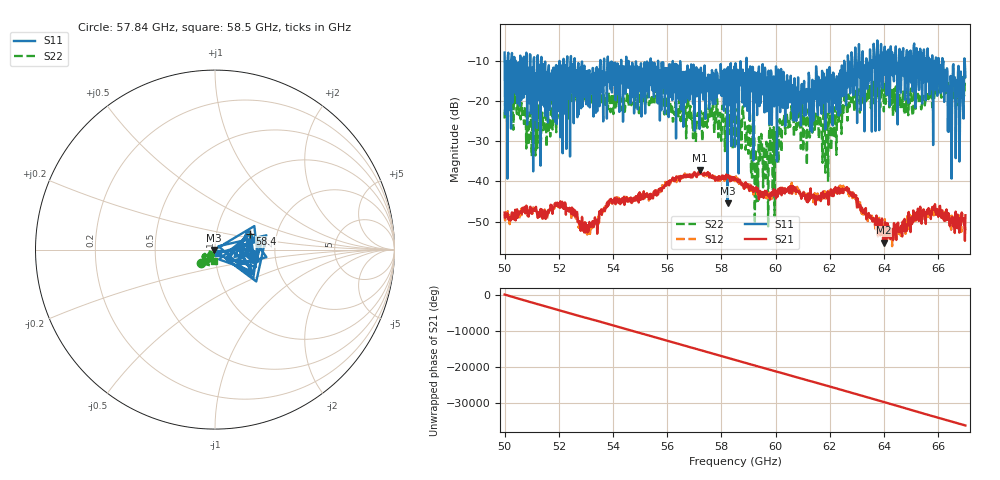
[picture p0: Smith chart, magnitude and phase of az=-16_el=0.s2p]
!Created with skrf (http://scikit-rf.org).
# GHz S RI R 50.0
!freq ReS11 ImS11 ReS21 ImS21 ReS12 ImS12 ReS22 ImS22
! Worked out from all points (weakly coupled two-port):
!   1001 points, 50 GHz to 67 GHz, reference 50 ohm
!   highest |S21| = -37.25 dB at 57.21 GHz (marker M1); lowest = -55.3 dB at 63.99 GHz (marker M2)
!   lowest |S11| = -45.5 dB at 58.23 GHz (marker M3), VSWR 1.01, Z = 49.5 - j0.205 ohm
!   |S11| at or under -10 dB: 52.59 GHz to 53.53 GHz (947.9 MHz wide, 1.79 % of centre); 55.66 GHz to 58.92 GHz (3.262 GHz wide, 5.69 % of centre); 58.93 GHz to 62.53 GHz (3.599 GHz wide, 5.93 % of centre) (the widest 3 of 64)
!   |S22| runs from -51.2 to -13.3 dB; largest |S21 - S12| = 0.0029
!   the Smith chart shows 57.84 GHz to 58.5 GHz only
!   S11 on the Smith chart (normalised r, x): 57.84 GHz: 1.55, -0.18; 58.4 GHz: 1.46, +0.27; 58.5 GHz: 1.04, -0.04
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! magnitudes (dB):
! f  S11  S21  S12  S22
! 50 GHz  -7.9  -47.8  -48.2  -24.3
! 50.15 GHz  -22.2  -49.6  -49.5  -20.8
! 51.14 GHz  -13.6  -47.3  -46.6  -33.5
! 52.84 GHz  -11.5  -51.2  -50.7  -19.9
! 55.68 GHz  -13.3  -42.0  -42.2  -21.0
! 57.21 GHz  -14.7  -37.3  -38.1  -25.0
! 57.84 GHz  -12.9  -39.8  -39.9  -19.4
! 58.23 GHz  -45.5  -38.9  -39.1  -23.2
! 58.4 GHz  -13.4  -38.9  -38.5  -26.0
! 58.5 GHz  -31.4  -39.4  -39.9  -23.9
! 59.11 GHz  -12.7  -42.1  -42.4  -34.9
! 59.32 GHz  -23.5  -42.4  -42.6  -35.4
! 60.34 GHz  -15.1  -43.0  -41.9  -25.6
! 61.34 GHz  -27.7  -44.0  -44.0  -27.1
! 61.88 GHz  -15.2  -43.6  -43.7  -24.3
! 62.61 GHz  -16.6  -42.3  -41.8  -19.6
! 63.99 GHz  -8.6  -55.3  -52.6  -22.5
! 64.18 GHz  -11.7  -52.9  -53.0  -17.6
! 66.1 GHz  -14.4  -47.5  -47.1  -18.4
! 66.44 GHz  -18.3  -50.1  -51.3  -16.3
! 66.86 GHz  -18.7  -47.7  -50.0  -16.3
! 67 GHz  -14.0  -48.4  -52.2  -14.2
